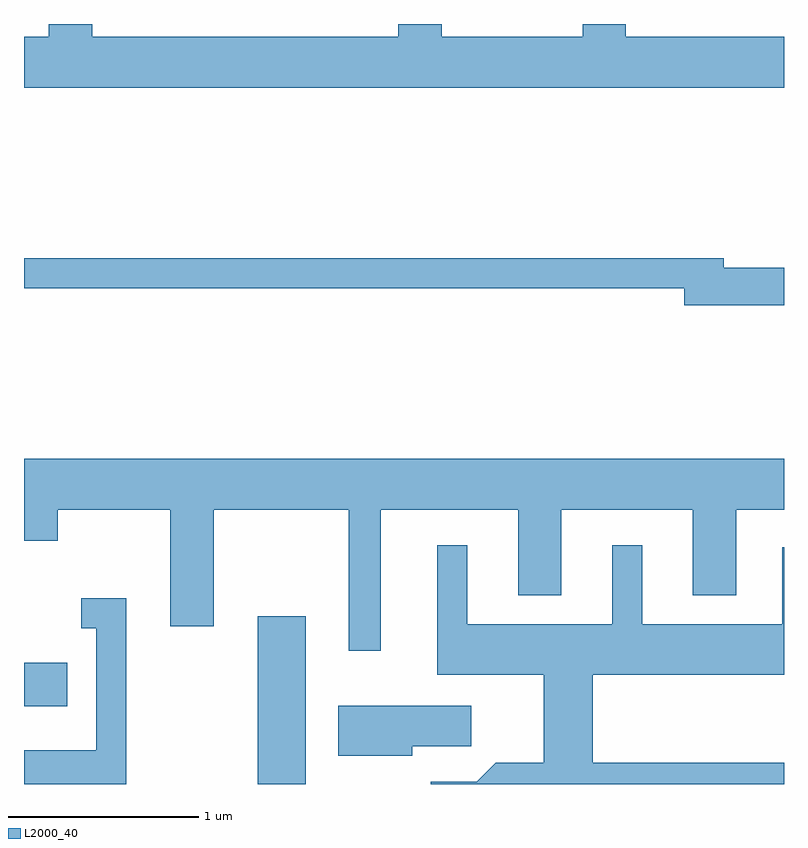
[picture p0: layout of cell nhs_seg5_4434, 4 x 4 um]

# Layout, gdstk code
import gdstk
lib = gdstk.Library(unit=1e-6, precision=1e-09)
def R(c, l, rs):  # rectangles x0, y0, x1, y1
    for r in rs: c.add(gdstk.rectangle(r[:2], r[2:], *l))
def P(c, l, *ps):  # polygons
    for p in ps: c.add(gdstk.Polygon(p, *l))
L2000_40 = (2000, 40)

nhs_seg5_4434 = lib.new_cell('nhs_seg5_4434')
R(nhs_seg5_4434, L2000_40, [(318.841,1402.072,319.094,1402.954), (317.611,1402.481,317.839,1402.709)])
P(nhs_seg5_4434, L2000_40, [(321.611,1406.004),(320.779,1406.004),(320.779,1406.072),(320.551,1406.072),(320.551,1406.004),(319.809,1406.004),(319.809,1406.072),(319.581,1406.072),(319.581,1406.004),(317.969,1406.004),(317.969,1406.072),(317.741,1406.072),(317.741,1406.004),(317.611,1406.004),(317.611,1405.736),(321.611,1405.736)],
  [(321.611,1404.789),(321.294,1404.789),(321.294,1404.839),(317.611,1404.839),(317.611,1404.681),(321.086,1404.681),(321.086,1404.591),(321.611,1404.591)],
  [(319.489,1403.516),(320.211,1403.516),(320.211,1403.066),(320.439,1403.066),(320.439,1403.516),(321.131,1403.516),(321.131,1403.066),(321.359,1403.066),(321.359,1403.516),(321.611,1403.516),(321.611,1403.784),(317.611,1403.784),(317.611,1403.351),(317.789,1403.351),(317.789,1403.516),(318.381,1403.516),(318.381,1402.901),(318.609,1402.901),(318.609,1403.516),(319.321,1403.516),(319.321,1402.773),(319.489,1402.773)],
  [(321.611,1402.184),(320.604,1402.184),(320.604,1402.646),(321.611,1402.646),(321.611,1403.319),(321.601,1403.319),(321.601,1402.914),(320.864,1402.914),(320.864,1403.328),(320.706,1403.328),(320.706,1402.914),(319.944,1402.914),(319.944,1403.328),(319.786,1403.328),(319.786,1402.646),(320.346,1402.646),(320.346,1402.184),(320.094,1402.184),(319.994,1402.084),(319.751,1402.084),(319.751,1402.072),(321.611,1402.072)],
  [(318.149,1403.049),(317.913,1403.049),(317.913,1402.891),(317.991,1402.891),(317.991,1402.249),(317.611,1402.249),(317.611,1402.072),(318.149,1402.072)],
  [(319.654,1402.271),(319.964,1402.271),(319.964,1402.484),(319.266,1402.484),(319.266,1402.221),(319.654,1402.221)])

lib.write_gds('nhs_seg5_4434.gds')
